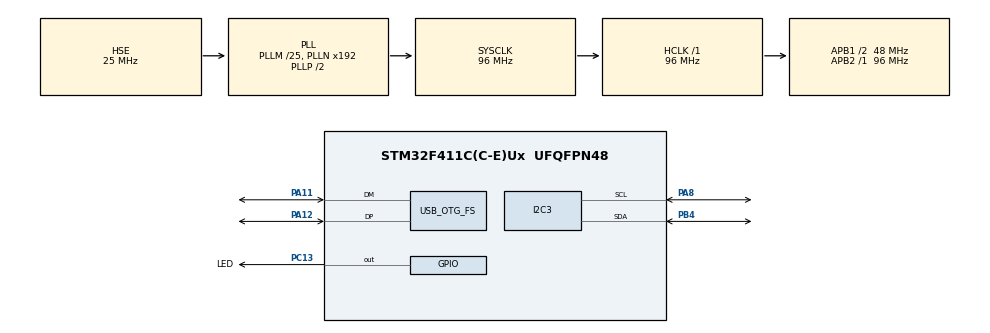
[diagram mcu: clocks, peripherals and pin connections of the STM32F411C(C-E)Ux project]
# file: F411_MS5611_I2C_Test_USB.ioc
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I2C3.I2C_Mode=I2C_Fast
Mcu.Family=STM32F4
Mcu.Name=STM32F411C(C-E)Ux
Mcu.Package=UFQFPN48
NVIC.OTG_FS_IRQn=true\:0\:0\:false\:false\:true\:false\:true\:true
NVIC.PriorityGroup=NVIC_PRIORITYGROUP_4
NVIC.TIM4_IRQn=true\:0\:0\:false\:false\:true\:true\:true\:true
PA11.Mode=Device_Only
PA11.Signal=USB_OTG_FS_DM
PA12.Mode=Device_Only
PA12.Signal=USB_OTG_FS_DP
PA13.Mode=Trace_Asynchronous_SW
PA13.Signal=SYS_JTMS-SWDIO
PA14.Mode=Trace_Asynchronous_SW
PA14.Signal=SYS_JTCK-SWCLK
PA8.Mode=I2C
PA8.Signal=I2C3_SCL
PB3.Mode=Trace_Asynchronous_SW
PB3.Signal=SYS_JTDO-SWO
PB4.Mode=I2C
PB4.Signal=I2C3_SDA
PC13-ANTI_TAMP.GPIO_Label=LED
PC13-ANTI_TAMP.Signal=GPIO_Output
PC14-OSC32_IN.Mode=LSE-External-Oscillator
PC14-OSC32_IN.Signal=RCC_OSC32_IN
PC15-OSC32_OUT.Mode=LSE-External-Oscillator
PC15-OSC32_OUT.Signal=RCC_OSC32_OUT
PH0\ -\ OSC_IN.Mode=HSE-External-Oscillator
PH0\ -\ OSC_IN.Signal=RCC_OSC_IN
PH1\ -\ OSC_OUT.Mode=HSE-External-Oscillator
PH1\ -\ OSC_OUT.Signal=RCC_OSC_OUT
ProjectManager.HeapSize=0x1000
ProjectManager.StackSize=0x400
ProjectManager.TargetToolchain=STM32CubeIDE
RCC.48MHZClocksFreq_Value=48000000
RCC.AHBFreq_Value=96000000
RCC.APB1CLKDivider=RCC_HCLK_DIV2
RCC.APB1Freq_Value=48000000
RCC.APB1TimFreq_Value=96000000
RCC.APB2Freq_Value=96000000
RCC.APB2TimFreq_Value=96000000
RCC.CortexFreq_Value=96000000
RCC.HCLKFreq_Value=96000000
RCC.HSE_VALUE=25000000
RCC.HSI_VALUE=16000000
RCC.PLLM=25
RCC.SYSCLKFreq_VALUE=96000000
RCC.SYSCLKSource=RCC_SYSCLKSOURCE_PLLCLK
RCC.VCOOutputFreq_Value=192000000
TIM4.AutoReloadPreload=TIM_AUTORELOAD_PRELOAD_ENABLE
TIM4.Period=1999
TIM4.Prescaler=959
USB_DEVICE.CLASS_NAME_FS=CDC
USB_DEVICE.USBD_DEBUG_LEVEL=3
USB_DEVICE.VirtualMode=Cdc
USB_DEVICE.VirtualModeFS=Cdc_FS
USB_OTG_FS.VirtualMode=Device_Only
VP_TIM4_VS_ClockSourceINT.Mode=Internal
VP_USB_DEVICE_VS_USB_DEVICE_CDC_FS.Mode=CDC_FS
board=custom

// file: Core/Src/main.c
/* USER CODE BEGIN Header */
/**
  ******************************************************************************
  * @file           : main.c
  * @brief          : Main program body
  ******************************************************************************
  * @attention
  *
  * Copyright (c) 2023 STMicroelectronics.
  * All rights reserved.
  *
  * This software is licensed under terms that can be found in the LICENSE file
  * in the root directory of this software component.
  * If no LICENSE file comes with this software, it is provided AS-IS.
  *
  ******************************************************************************
  */
/* USER CODE END Header */
#include "main.h"
#include "i2c.h"
#include "tim.h"
#include "usb_device.h"
#include "gpio.h"

/* USER CODE BEGIN Includes */
#include "ms5611.h"

/* USER CODE END Includes */

/* USER CODE BEGIN PV */

float temp = 0;
float pressure = 0;
volatile uint8_t IMU_DTRDY = 0;
/* USER CODE END PV */

void SystemClock_Config(void);
/* USER CODE BEGIN PFP */
extern uint8_t CDC_Transmit_FS(uint8_t* Buf, uint16_t Len);
/* USER CODE END PFP */

int main(void)
{

  /* MCU Configuration--------------------------------------------------------*/

  /* Reset of all peripherals, Initializes the Flash interface and the Systick. */
  HAL_Init();

  /* Configure the system clock */
  SystemClock_Config();

  /* Initialize all configured peripherals */
  MX_GPIO_Init();
  MX_I2C3_Init();
  MX_USB_DEVICE_Init();
  MX_TIM4_Init();
  /* USER CODE BEGIN 2 */
  HAL_TIM_Base_Start_IT(&htim4);

  HAL_Delay(1000);

  ms5611_set_i2c(&hi2c3);
  ms5611_init();
  /* USER CODE END 2 */

  /* Infinite loop */
  while (1)
  {

    /* USER CODE BEGIN 3 */
	  if (IMU_DTRDY) {

	  		ms5611_update();
	  		temp = ms5611_get_temperature();
	  		pressure = ms5611_get_pressure();
	  		printf("Temp: %.2f\tPressure: %.2f\n", temp, pressure);
	  	}
  }
  /* USER CODE END 3 */
}

void SystemClock_Config(void)
{
  RCC_OscInitTypeDef RCC_OscInitStruct = {0};
  RCC_ClkInitTypeDef RCC_ClkInitStruct = {0};

  /** Configure the main internal regulator output voltage
  */
  __HAL_RCC_PWR_CLK_ENABLE();
  __HAL_PWR_VOLTAGESCALING_CONFIG(PWR_REGULATOR_VOLTAGE_SCALE1);

  /** Initializes the RCC Oscillators according to the specified parameters
  * in the RCC_OscInitTypeDef structure.
  */
  RCC_OscInitStruct.OscillatorType = RCC_OSCILLATORTYPE_HSE;
  RCC_OscInitStruct.HSEState = RCC_HSE_ON;
  RCC_OscInitStruct.PLL.PLLState = RCC_PLL_ON;
  RCC_OscInitStruct.PLL.PLLSource = RCC_PLLSOURCE_HSE;
  RCC_OscInitStruct.PLL.PLLM = 25;
  RCC_OscInitStruct.PLL.PLLN = 192;
  RCC_OscInitStruct.PLL.PLLP = RCC_PLLP_DIV2;
  RCC_OscInitStruct.PLL.PLLQ = 4;
  if (HAL_RCC_OscConfig(&RCC_OscInitStruct) != HAL_OK)
  {
    Error_Handler();
  }

  /** Initializes the CPU, AHB and APB buses clocks
  */
  RCC_ClkInitStruct.ClockType = RCC_CLOCKTYPE_HCLK|RCC_CLOCKTYPE_SYSCLK
                              |RCC_CLOCKTYPE_PCLK1|RCC_CLOCKTYPE_PCLK2;
  RCC_ClkInitStruct.SYSCLKSource = RCC_SYSCLKSOURCE_PLLCLK;
  RCC_ClkInitStruct.AHBCLKDivider = RCC_SYSCLK_DIV1;
  RCC_ClkInitStruct.APB1CLKDivider = RCC_HCLK_DIV2;
  RCC_ClkInitStruct.APB2CLKDivider = RCC_HCLK_DIV1;

  if (HAL_RCC_ClockConfig(&RCC_ClkInitStruct, FLASH_LATENCY_3) != HAL_OK)
  {
    Error_Handler();
  }
}

/* USER CODE BEGIN 4 */
int _write(int file, char *ptr, int len) {
    static uint8_t rc = USBD_OK;

    do {
        rc = CDC_Transmit_FS( (uint8_t*) ptr, len);
    } while (USBD_BUSY == rc);

    if (USBD_FAIL == rc) {
        /// NOTE: Should never reach here.
        /// TODO: Handle this error.
        return 0;
    }
    return len;
}

void HAL_TIM_PeriodElapsedCallback(TIM_HandleTypeDef *htim)
{

	// 100 ms
  if (htim == &htim4 ){

	  IMU_DTRDY = 1;
	  HAL_GPIO_TogglePin(LED_GPIO_Port, LED_Pin);

  }

}
/* USER CODE END 4 */

void Error_Handler(void)
{
  __disable_irq();
  while (1)
  {
  }
}
